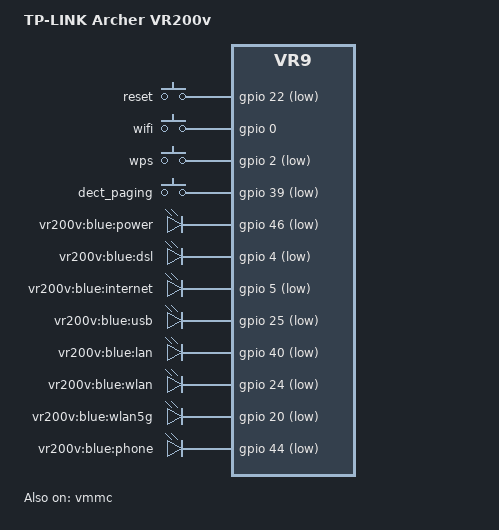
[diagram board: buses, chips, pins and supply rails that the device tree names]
/dts-v1/;

#include "vr9_tplink_vr200.dtsi"

/ {
	compatible = "tplink,vr200v", "lantiq,xway", "lantiq,vr9";
	model = "TP-LINK Archer VR200v";

	chosen {
		bootargs = "console=ttyLTQ0,115200 mem=126M vpe1_load_addr=0x87e00000 vpe1_mem=2M maxvpes=1 maxtcs=1 nosmp";
	};

	aliases {
		led-boot = &power;
		led-failsafe = &power;
		led-running = &power;
		led-upgrade = &power;

		led-dsl = &dsl;
		led-internet = &internet;
		led-wifi = &wlan5g;

		led-usb = &led_usb;
		led-usb2 = &led_usb;
	};

	keys {
		compatible = "gpio-keys-polled";
		poll-interval = <100>;
		reset {
			label = "reset";
			gpios = <&gpio 22 GPIO_ACTIVE_LOW>;
			linux,code = <KEY_RESTART>;
		};

		wifi {
			label = "wifi";
			gpios = <&gpio 0 GPIO_ACTIVE_HIGH>;
			linux,code = <KEY_RFKILL>;
			linux,input-type = <EV_SW>;
		};

		wps {
			label = "wps";
			gpios = <&gpio 2 GPIO_ACTIVE_LOW>;
			linux,code = <KEY_WPS_BUTTON>;
		};

		dect_paging {
			label = "dect_paging";
			gpios = <&gpio 39 GPIO_ACTIVE_LOW>;
			linux,code = <KEY_PHONE>;
		};
	};

	leds {
		compatible = "gpio-leds";
		power: power {
			label = "vr200v:blue:power";
			gpios = <&gpio 46 GPIO_ACTIVE_LOW>;
			default-state = "keep";
		};
		dsl: dsl {
			label = "vr200v:blue:dsl";
			gpios = <&gpio 4 GPIO_ACTIVE_LOW>;
		};
		internet: internet {
			label = "vr200v:blue:internet";
			gpios = <&gpio 5 GPIO_ACTIVE_LOW>;
		};
		led_usb: usb {
			label = "vr200v:blue:usb";
			gpios = <&gpio 25 GPIO_ACTIVE_LOW>;
		};
		eth {
			label = "vr200v:blue:lan";
			gpios = <&gpio 40 GPIO_ACTIVE_LOW>;
		};
		wlan {
			label = "vr200v:blue:wlan";
			gpios = <&gpio 24 GPIO_ACTIVE_LOW>;
		};
		wlan5g: wifi {
			label = "vr200v:blue:wlan5g";
			gpios = <&gpio 20 GPIO_ACTIVE_LOW>;
		};
		phone {
			label = "vr200v:blue:phone";
			gpios = <&gpio 44 GPIO_ACTIVE_LOW>;
		};
	};	
};

&vmmc {
	status = "okay";
	gpios = <&gpio 30 GPIO_ACTIVE_HIGH  //fxs relay
			 &gpio 31 GPIO_ACTIVE_HIGH  //still unknown
			 &gpio 3  GPIO_ACTIVE_HIGH>; //reset_slic?
};
